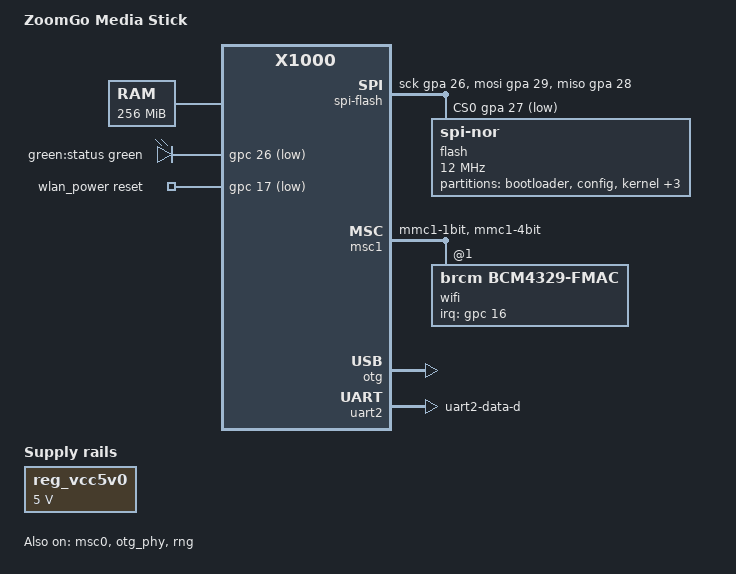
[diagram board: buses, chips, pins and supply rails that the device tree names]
// SPDX-License-Identifier: GPL-2.0 or MIT
/dts-v1/;

#include "x1000.dtsi"
#include <dt-bindings/gpio/gpio.h>
#include <dt-bindings/clock/ingenic,sysost.h>
#include <dt-bindings/interrupt-controller/irq.h>
#include <dt-bindings/leds/common.h>

/ {
	model = "ZoomGo Media Stick";
	/*
	 * This device has Damai DM6291A SoC which reports as
	 * Ingenic X1000 IP, but with 256 MiB RAM.
	 */
	compatible = "zoomgo,zx10", "ingenic,x1000";

	aliases {
		serial2 = &uart2;
		led-boot = &led_status;
		led-failsafe = &led_status;
		led-running = &led_status;
		led-upgrade = &led_status;
	};

	chosen {
		bootargs = "earlycon";
		stdout-path = "serial2:115200n8";
	};

	memory {
		device_type = "memory";
		reg = <0x0 0x10000000>;
	};

	leds {
		compatible = "gpio-leds";

		led_status: status {
			label = "green:status";
			gpios = <&gpc 26 GPIO_ACTIVE_LOW>;
			color = <LED_COLOR_ID_GREEN>;
			function = LED_FUNCTION_STATUS;
			default-state = "keep";
		};
	};

	wlan_power: msc1-pwrseq {
		compatible = "mmc-pwrseq-simple";

		reset-gpios = <&gpc 17 GPIO_ACTIVE_LOW>;
		post-power-on-delay-ms = <200>;
	};

	reg_vcc5v0: vcc5v0 {
		compatible = "regulator-fixed";

		regulator-name = "vcc5v0";
		regulator-min-microvolt = <5000000>;
		regulator-max-microvolt = <5000000>;
	};

	spi-flash {
		compatible = "spi-gpio";
		#address-cells = <1>;
		#size-cells = <0>;

		sck-gpios = <&gpa 26 GPIO_ACTIVE_HIGH>;
		miso-gpios = <&gpa 28 GPIO_ACTIVE_HIGH>;
		mosi-gpios = <&gpa 29 GPIO_ACTIVE_HIGH>;
		cs-gpios = <&gpa 27 GPIO_ACTIVE_LOW>;
		num-chipselects = <1>;

		flash@0 {
			compatible = "jedec,spi-nor";
			reg = <0>;
			spi-max-frequency = <12000000>;

			partitions {
				compatible = "fixed-partitions";
				#address-cells = <1>;
				#size-cells = <1>;

				partition@0 {
					label = "bootloader";
					reg = <0x000000 0x030000>;
					read-only;
				};

				partition@30000 {
					label = "config";
					reg = <0x030000 0x010000>;
					read-only;

					compatible = "nvmem-cells";
					#address-cells = <1>;
					#size-cells = <1>;

					macaddr_wlan: macaddr@ca0 {
						reg = <0xca0 0x6>;
					};
				};

				/*
				 * Last 32B must be a MD5 sum of first 256KiB.
				 * It's checked by U-Boot. If it fails, the
				 * kernel from backup partition is executed.
				 */
				partition@40000 {
					label = "kernel";
					reg = <0x040000 0x200000>;
				};

				partition@240000 {
					label = "rootfs";
					reg = <0x240000 0x800000>;
				};

				partition@a40000 {
					label = "backup";
					reg = <0xa40000 0x5b0000>;
					read-only;
				};

				partition@ff0000 {
					label = "airdisk";
					reg = <0xff0000 0x010000>;
				};
			};
		};
	};
};

&cgu {
	/*
	 * Use the 32.768 kHz oscillator as the parent of the RTC for a higher
	 * precision.
	 */
	assigned-clocks = <&cgu X1000_CLK_RTC>;
	assigned-clock-parents = <&cgu X1000_CLK_RTCLK>;
};

&exclk {
	clock-frequency = <24000000>;
};

&msc0 {
	status = "okay";

	bus-width = <8>;
	max-frequency = <50000000>;

	pinctrl-names = "default";
	pinctrl-0 = <&pins_msc0>;

	cd-gpios = <&gpc 21 GPIO_ACTIVE_LOW>;
};

&msc1 {
	status = "okay";

	#address-cells = <1>;
	#size-cells = <0>;
	bus-width = <4>;
	max-frequency = <50000000>;

	pinctrl-names = "default";
	pinctrl-0 = <&pins_msc1>;

	non-removable;

	mmc-pwrseq = <&wlan_power>;

	wifi@0 {
		compatible = "brcm,bcm4329-fmac";
		reg = <1>;

		interrupt-parent = <&gpc>;
		interrupts = <16 IRQ_TYPE_EDGE_FALLING>;
		interrupt-names = "host-wake";

		brcm,drive-strength = <10>;

		nvmem-cells = <&macaddr_wlan>;
		nvmem-cell-names = "mac-address";
	};
};

&ost {
	/* 1500 kHz for the system timer and clocksource */
	assigned-clocks = <&ost OST_CLK_PERCPU_TIMER>, <&ost OST_CLK_GLOBAL_TIMER>;
	assigned-clock-rates = <1500000>, <1500000>;
};

&otg_phy {
	status = "okay";

	vcc-supply = <&reg_vcc5v0>;
};

&otg {
	status = "okay";

	usb-role-switch;
};

&pinctrl {
	pins_uart2: uart2 {
		function = "uart2";
		groups = "uart2-data-d";
		bias-pull-up;
	};

	pins_msc0: msc0 {
		function = "mmc0";
		groups = "mmc0-1bit", "mmc0-4bit", "mmc0-8bit";
		bias-disable;
	};

	pins_msc1: msc1 {
		function = "mmc1";
		groups = "mmc1-1bit", "mmc1-4bit";
		bias-disable;
	};
};

&rng {
	status = "okay";
};

&uart2 {
	status = "okay";

	pinctrl-names = "default";
	pinctrl-0 = <&pins_uart2>;
};
